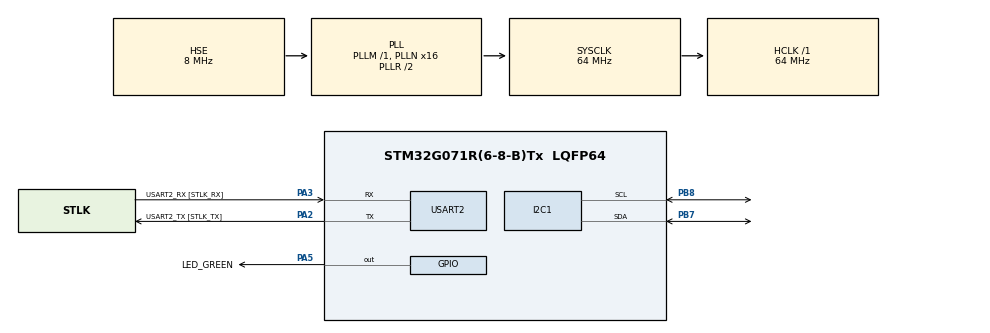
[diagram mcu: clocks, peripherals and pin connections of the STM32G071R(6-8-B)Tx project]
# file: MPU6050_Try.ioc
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I2C1.Timing=0x10B17DB5
Mcu.Family=STM32G0
Mcu.Name=STM32G071R(6-8-B)Tx
Mcu.Package=LQFP64
PA13.GPIO_Label=TMS
PA13.Mode=Serial_Wire
PA13.Signal=SYS_SWDIO
PA14-BOOT0.GPIO_Label=TCK
PA14-BOOT0.Mode=Serial_Wire
PA14-BOOT0.Signal=SYS_SWCLK
PA2.GPIO_Label=USART2_TX [STLK_TX]
PA2.GPIO_PuPd=GPIO_PULLUP
PA2.Mode=Asynchronous
PA2.Signal=USART2_TX
PA3.GPIO_Label=USART2_RX [STLK_RX]
PA3.GPIO_PuPd=GPIO_PULLUP
PA3.Mode=Asynchronous
PA3.Signal=USART2_RX
PA5.GPIO_Label=LED_GREEN
PA5.GPIO_Speed=GPIO_SPEED_FREQ_HIGH
PA5.Signal=GPIO_Output
PB7.GPIO_Pu=GPIO_PULLUP
PB7.GPIO_Speed=GPIO_SPEED_FREQ_VERY_HIGH
PB7.Mode=I2C
PB7.Signal=I2C1_SDA
PB8.GPIO_Pu=GPIO_PULLUP
PB8.GPIO_Speed=GPIO_SPEED_FREQ_VERY_HIGH
PB8.Mode=I2C
PB8.Signal=I2C1_SCL
PC13.Mode=SYS_WakeUp1
PC13.Signal=SYS_WKUP2
PC14-OSC32_IN\ (PC14).Signal=RCC_OSC32_IN
PC15-OSC32_OUT\ (PC15).Signal=RCC_OSC32_OUT
PF0-OSC_IN\ (PF0).GPIO_Label=MCO
PF0-OSC_IN\ (PF0).Mode=HSE-External-Oscillator
PF0-OSC_IN\ (PF0).Signal=RCC_OSC_IN
PF1-OSC_OUT\ (PF1).Mode=HSE-External-Oscillator
PF1-OSC_OUT\ (PF1).Signal=RCC_OSC_OUT
ProjectManager.HeapSize=0x200
ProjectManager.StackSize=0x400
ProjectManager.TargetToolchain=STM32CubeIDE
RCC.ADCFreq_Value=64000000
RCC.AHBFreq_Value=64000000
RCC.CortexFreq_Value=64000000
RCC.EXTERNAL_CLOCK_VALUE=12288000
RCC.HCLKFreq_Value=64000000
RCC.HSI_VALUE=16000000
RCC.PLLN=16
RCC.PLLSourceVirtual=RCC_PLLSOURCE_HSE
RCC.SYSCLKFreq_VALUE=64000000
RCC.SYSCLKSource=RCC_SYSCLKSOURCE_PLLCLK
RCC.VCOOutputFreq_Value=128000000
USART2.VirtualMode-Asynchronous=VM_ASYNC
board=NUCLEO-G071RB

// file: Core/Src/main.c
/* USER CODE BEGIN Header */
/**
  ******************************************************************************
  * @file           : main.c
  * @brief          : Main program body
  ******************************************************************************
  * @attention
  *
  * Copyright (c) 2025 STMicroelectronics.
  * All rights reserved.
  *
  * This software is licensed under terms that can be found in the LICENSE file
  * in the root directory of this software component.
  * If no LICENSE file comes with this software, it is provided AS-IS.
  *
  ******************************************************************************
  */
/* USER CODE END Header */
#include "main.h"

/* USER CODE BEGIN Includes */
#include <stdio.h>

/* USER CODE END Includes */

/* USER CODE BEGIN PM */
#define MPU6050_ADDR 0x68

int16_t Accel_X_RAW;
int16_t Accel_Y_RAW;
int16_t Accel_Z_RAW;

int16_t Gyro_X_RAW;
int16_t Gyro_Y_RAW;
int16_t Gyro_Z_RAW;

float Gx;
float Gy;
float Gz;

/* USER CODE END PM */

I2C_HandleTypeDef hi2c1;

UART_HandleTypeDef huart2;

void SystemClock_Config(void);
static void MX_GPIO_Init(void);
static void MX_USART2_UART_Init(void);
static void MX_I2C1_Init(void);

int main(void)
{

  /* MCU Configuration--------------------------------------------------------*/

  /* Reset of all peripherals, Initializes the Flash interface and the Systick. */
  HAL_Init();

  /* Configure the system clock */
  SystemClock_Config();

  /* Initialize all configured peripherals */
  MX_GPIO_Init();
  MX_USART2_UART_Init();
  MX_I2C1_Init();
  /* USER CODE BEGIN 2 */
  MPU6050_Init();

  /*
  for (uint8_t addr = 0; addr < 127; addr++)
  {
	  printf("Scanning: addr = %d (0x%02X)\r\n", addr, addr);
	  HAL_StatusTypeDef ret = HAL_I2C_IsDeviceReady(&hi2c1, addr << 1, 1, 100);
      if ( ret == HAL_OK)
      {
          printf("I2C device found at address 0x%02X\r\n", addr);
      }
  }
  */

  HAL_StatusTypeDef ret = HAL_I2C_IsDeviceReady(&hi2c1, (MPU6050_ADDR << 1), 1, 100);
  if(ret == HAL_OK)
  {
	  printf("MPU is ready.\n");
  }
  else
  {
	  printf("MPU is not ready. Check it.\n");
  }

  /* USER CODE END 2 */

  /* Infinite loop */
  /* USER CODE BEGIN WHILE */
  while (1)
  {
	  MPU6050_Read_Accel();
	  MPU6050_Read_Gyro();

	  printf("Ax: %d\tGx: %.2f\r\n", Accel_X_RAW, Gx);
	  printf("Ay: %d\tGy: %.2f\r\n", Accel_Y_RAW, Gy);
	  printf("Az: %d\tGz: %.2f\r\n", Accel_Z_RAW, Gz);

    /* USER CODE END WHILE */

  }
}

void SystemClock_Config(void)
{
  RCC_OscInitTypeDef RCC_OscInitStruct = {0};
  RCC_ClkInitTypeDef RCC_ClkInitStruct = {0};

  /** Configure the main internal regulator output voltage
  */
  HAL_PWREx_ControlVoltageScaling(PWR_REGULATOR_VOLTAGE_SCALE1);

  /** Initializes the RCC Oscillators according to the specified parameters
  * in the RCC_OscInitTypeDef structure.
  */
  RCC_OscInitStruct.OscillatorType = RCC_OSCILLATORTYPE_HSE;
  RCC_OscInitStruct.HSEState = RCC_HSE_ON;
  RCC_OscInitStruct.PLL.PLLState = RCC_PLL_ON;
  RCC_OscInitStruct.PLL.PLLSource = RCC_PLLSOURCE_HSE;
  RCC_OscInitStruct.PLL.PLLM = RCC_PLLM_DIV1;
  RCC_OscInitStruct.PLL.PLLN = 16;
  RCC_OscInitStruct.PLL.PLLP = RCC_PLLP_DIV2;
  RCC_OscInitStruct.PLL.PLLQ = RCC_PLLQ_DIV2;
  RCC_OscInitStruct.PLL.PLLR = RCC_PLLR_DIV2;
  if (HAL_RCC_OscConfig(&RCC_OscInitStruct) != HAL_OK)
  {
    Error_Handler();
  }

  /** Initializes the CPU, AHB and APB buses clocks
  */
  RCC_ClkInitStruct.ClockType = RCC_CLOCKTYPE_HCLK|RCC_CLOCKTYPE_SYSCLK
                              |RCC_CLOCKTYPE_PCLK1;
  RCC_ClkInitStruct.SYSCLKSource = RCC_SYSCLKSOURCE_PLLCLK;
  RCC_ClkInitStruct.AHBCLKDivider = RCC_SYSCLK_DIV1;
  RCC_ClkInitStruct.APB1CLKDivider = RCC_HCLK_DIV1;

  if (HAL_RCC_ClockConfig(&RCC_ClkInitStruct, FLASH_LATENCY_2) != HAL_OK)
  {
    Error_Handler();
  }
}

static void MX_I2C1_Init(void)
{

  hi2c1.Instance = I2C1;
  hi2c1.Init.Timing = 0x10B17DB5;
  hi2c1.Init.OwnAddress1 = 0;
  hi2c1.Init.AddressingMode = I2C_ADDRESSINGMODE_7BIT;
  hi2c1.Init.DualAddressMode = I2C_DUALADDRESS_DISABLE;
  hi2c1.Init.OwnAddress2 = 0;
  hi2c1.Init.OwnAddress2Masks = I2C_OA2_NOMASK;
  hi2c1.Init.GeneralCallMode = I2C_GENERALCALL_DISABLE;
  hi2c1.Init.NoStretchMode = I2C_NOSTRETCH_DISABLE;
  if (HAL_I2C_Init(&hi2c1) != HAL_OK)
  {
    Error_Handler();
  }

  /** Configure Analogue filter
  */
  if (HAL_I2CEx_ConfigAnalogFilter(&hi2c1, I2C_ANALOGFILTER_ENABLE) != HAL_OK)
  {
    Error_Handler();
  }

  /** Configure Digital filter
  */
  if (HAL_I2CEx_ConfigDigitalFilter(&hi2c1, 0) != HAL_OK)
  {
    Error_Handler();
  }

}

static void MX_USART2_UART_Init(void)
{

  huart2.Instance = USART2;
  huart2.Init.BaudRate = 115200;
  huart2.Init.WordLength = UART_WORDLENGTH_8B;
  huart2.Init.StopBits = UART_STOPBITS_1;
  huart2.Init.Parity = UART_PARITY_NONE;
  huart2.Init.Mode = UART_MODE_TX_RX;
  huart2.Init.HwFlowCtl = UART_HWCONTROL_NONE;
  huart2.Init.OverSampling = UART_OVERSAMPLING_16;
  huart2.Init.OneBitSampling = UART_ONE_BIT_SAMPLE_DISABLE;
  huart2.Init.ClockPrescaler = UART_PRESCALER_DIV1;
  huart2.AdvancedInit.AdvFeatureInit = UART_ADVFEATURE_NO_INIT;
  if (HAL_UART_Init(&huart2) != HAL_OK)
  {
    Error_Handler();
  }
  if (HAL_UARTEx_SetTxFifoThreshold(&huart2, UART_TXFIFO_THRESHOLD_1_8) != HAL_OK)
  {
    Error_Handler();
  }
  if (HAL_UARTEx_SetRxFifoThreshold(&huart2, UART_RXFIFO_THRESHOLD_1_8) != HAL_OK)
  {
    Error_Handler();
  }
  if (HAL_UARTEx_DisableFifoMode(&huart2) != HAL_OK)
  {
    Error_Handler();
  }

}

static void MX_GPIO_Init(void)
{
  GPIO_InitTypeDef GPIO_InitStruct = {0};

  /* GPIO Ports Clock Enable */
  __HAL_RCC_GPIOC_CLK_ENABLE();
  __HAL_RCC_GPIOF_CLK_ENABLE();
  __HAL_RCC_GPIOA_CLK_ENABLE();
  __HAL_RCC_GPIOB_CLK_ENABLE();

  /*Configure GPIO pin Output Level */
  HAL_GPIO_WritePin(LED_GREEN_GPIO_Port, LED_GREEN_Pin, GPIO_PIN_RESET);

  /*Configure GPIO pin : LED_GREEN_Pin */
  GPIO_InitStruct.Pin = LED_GREEN_Pin;
  GPIO_InitStruct.Mode = GPIO_MODE_OUTPUT_PP;
  GPIO_InitStruct.Pull = GPIO_NOPULL;
  GPIO_InitStruct.Speed = GPIO_SPEED_FREQ_HIGH;
  HAL_GPIO_Init(LED_GREEN_GPIO_Port, &GPIO_InitStruct);

}

/* USER CODE BEGIN 4 */

void MPU6050_Init(void){

	uint8_t data;

	//Wake sensor up -> register 0x6B
	HAL_I2C_Mem_Write(&hi2c1, MPU6050_ADDR <<1, 0x6B, 1, &data, 1, 1000);

	//SET DATA RATE of 1Khz -> SMPLRT_DIV register
	data = 0x07;
	HAL_I2C_Mem_Write(&hi2c1, MPU6050_ADDR <<1, 0x19, 1, &data, 1, 1000);

	//GYRO_CONFIG <strong>±</strong> 250 ̐/s
	data = 0x00;
	HAL_I2C_Mem_Write(&hi2c1, MPU6050_ADDR <<1, 0x1B, 1, &data, 1, 1000);

	//ACCEL_CONFIG  <strong>±</strong> 2g
	data = 0x00;
	HAL_I2C_Mem_Write(&hi2c1, MPU6050_ADDR <<1, 0x1C, 1, &data, 1, 1000);

}

void MPU6050_Read_Accel(void){
	uint8_t Accel_Data[6];

	// Read 6 BYTES of data starting from ACCEL_XOUT_H (0x3B) register
	HAL_I2C_Mem_Read (&hi2c1, MPU6050_ADDR <<1 , 0x3B, 1, Accel_Data, 6, 1000);
	Accel_X_RAW = (int16_t)(Accel_Data[0] << 8 | Accel_Data[1]);
	Accel_Y_RAW = (int16_t)(Accel_Data[2] << 8 | Accel_Data[3]);
	Accel_Z_RAW = (int16_t)(Accel_Data[4] << 8 | Accel_Data[5]);
}

void MPU6050_Read_Gyro (void)
{
	uint8_t Gyro_Data[6];

	// Read 6 BYTES of data starting from GYRO_XOUT_H register
	HAL_I2C_Mem_Read (&hi2c1, MPU6050_ADDR <<1, 0x43, 1, Gyro_Data, 6, 1000);

	Gyro_X_RAW = (int16_t)(Gyro_Data[0] << 8 | Gyro_Data[1]);
	Gyro_Y_RAW = (int16_t)(Gyro_Data[2] << 8 | Gyro_Data[3]);
	Gyro_Z_RAW = (int16_t)(Gyro_Data[4] << 8 | Gyro_Data[5]);

	Gx = (float)Gyro_X_RAW/131.0;
	Gy = (float)Gyro_Y_RAW/131.0;
	Gz = (float)Gyro_Z_RAW/131.0;
}

/* USER CODE END 4 */

void Error_Handler(void)
{
  __disable_irq();
  while (1)
  {
  }
}
